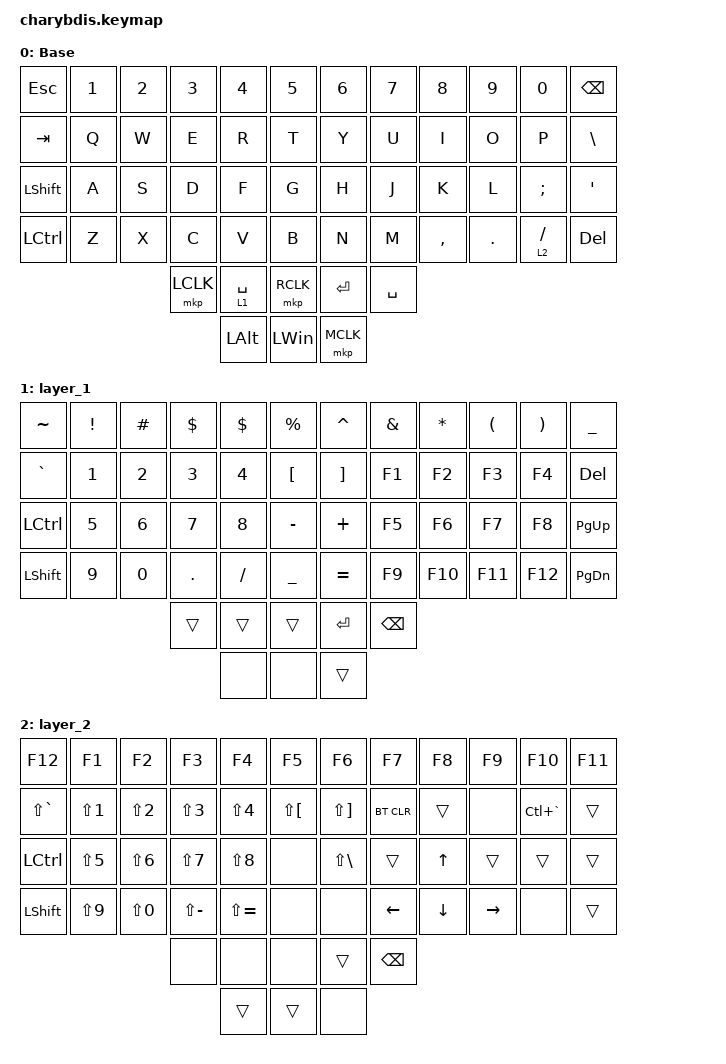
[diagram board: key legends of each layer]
#include <dt-bindings/zmk/mouse.h>
#include <behaviors.dtsi>
#include <dt-bindings/zmk/bt.h>
#include <dt-bindings/zmk/keys.h>

&lt {
    tapping-term-ms = <200>;
    flavor = "balanced";
    quick-tap-ms = <150>;
};

/ {
    combos {
        compatible = "zmk,combos";

        K_end {
            bindings = <&kp END>;
            key-positions = <44 45>;
        };

        K_home {
            bindings = <&kp HOME>;
            key-positions = <32 33>;
        };

        Big_KH_L {
            bindings = <&kp LEFT_BRACE>;
            key-positions = <16 17>;
        };

        Big_KH_R {
            bindings = <&kp RIGHT_BRACE>;
            key-positions = <18 19>;
        };

        M_KH_L {
            bindings = <&kp LEFT_BRACKET>;
            key-positions = <28 29>;
        };

        M_KH_R {
            bindings = <&kp RIGHT_BRACKET>;
            key-positions = <30 31>;
        };

        KH_L {
            bindings = <&kp LEFT_PARENTHESIS>;
            key-positions = <40 41>;
        };

        KH_R {
            bindings = <&kp RIGHT_PARENTHESIS>;
            key-positions = <42 43>;
        };

        underline {
            bindings = <&kp UNDERSCORE>;
            key-positions = <37 38>;
        };

        minus {
            bindings = <&kp MINUS>;
            key-positions = <25 26>;
        };

        equal {
            bindings = <&kp EQUAL>;
            key-positions = <34 35>;
        };

        plus {
            bindings = <&kp PLUS>;
            key-positions = <22 23>;
        };
    };

    keymap {
        compatible = "zmk,keymap";

        Base {
            bindings = <
&kp ESC         &kp N1  &kp N2  &kp N3     &kp N4       &kp N5          &kp N6     &kp N7     &kp N8     &kp N9   &kp N0       &kp BSPC
&kp TAB         &kp Q   &kp W   &kp E      &kp R        &kp T           &kp Y      &kp U      &kp I      &kp O    &kp P        &kp BACKSLASH
&kp LEFT_SHIFT  &kp A   &kp S   &kp D      &kp F        &kp G           &kp H      &kp J      &kp K      &kp L    &kp SEMI     &kp APOS
&kp LCTRL       &kp Z   &kp X   &kp C      &kp V        &kp B           &kp N      &kp M      &kp COMMA  &kp DOT  &lt 2 SLASH  &kp DELETE
                                &mkp LCLK  &lt 1 SPACE  &mkp RCLK       &kp ENTER  &kp SPACE
                                           &kp LALT     &kp LEFT_WIN    &mkp MCLK
            >;

            trackball-bindings = <&tmv_coarse>;
        };

        layer_1 {
            bindings = <
&kp TILDE         &kp EXCLAMATION  &kp HASH      &kp DOLLAR    &kp DOLLAR    &kp PERCENT       &kp CARET  &kp AMPERSAND  &kp ASTERISK  &kp LEFT_PARENTHESIS  &kp RIGHT_PARENTHESIS  &kp UNDERSCORE
&kp GRAVE         &kp NUMBER_1     &kp NUMBER_2  &kp NUMBER_3  &kp NUMBER_4  &kp LBKT          &kp RBKT   &kp F1         &kp F2        &kp F3                &kp F4                 &kp DEL
&kp LEFT_CONTROL  &kp NUMBER_5     &kp NUMBER_6  &kp NUMBER_7  &kp NUMBER_8  &kp MINUS         &kp PLUS   &kp F5         &kp F6        &kp F7                &kp F8                 &kp PAGE_UP
&kp LSHFT         &kp NUMBER_9     &kp NUMBER_0  &kp DOT       &kp SLASH     &kp UNDERSCORE    &kp EQUAL  &kp F9         &kp F10       &kp F11               &kp F12                &kp PAGE_DOWN
                                                 &trans        &trans        &trans            &kp ENTER  &kp BACKSPACE
                                                               &none         &none             &trans
            >;
        };

        layer_2 {
            bindings = <
&kp F12           &kp F1      &kp F2      &kp F3         &kp F4         &kp F5          &kp F6        &kp F7         &kp F8    &kp F9     &kp F10        &kp F11
&kp LS(GRAVE)     &kp LS(N1)  &kp LS(N2)  &kp LS(N3)     &kp LS(N4)     &kp LS(LBKT)    &kp LS(RBKT)  &bt BT_CLR     &trans    &none      &kp LC(GRAVE)  &trans
&kp LEFT_CONTROL  &kp LS(N5)  &kp LS(N6)  &kp LS(N7)     &kp LS(N8)     &none           &kp LS(BSLH)  &trans         &kp UP    &trans     &trans         &trans
&kp LEFT_SHIFT    &kp LS(N9)  &kp LS(N0)  &kp LS(MINUS)  &kp LS(EQUAL)  &none           &none         &kp LEFT       &kp DOWN  &kp RIGHT  &none          &trans
                                          &none          &none          &none           &trans        &kp BACKSPACE
                                                         &trans         &trans          &none
            >;
        };
    };
};
